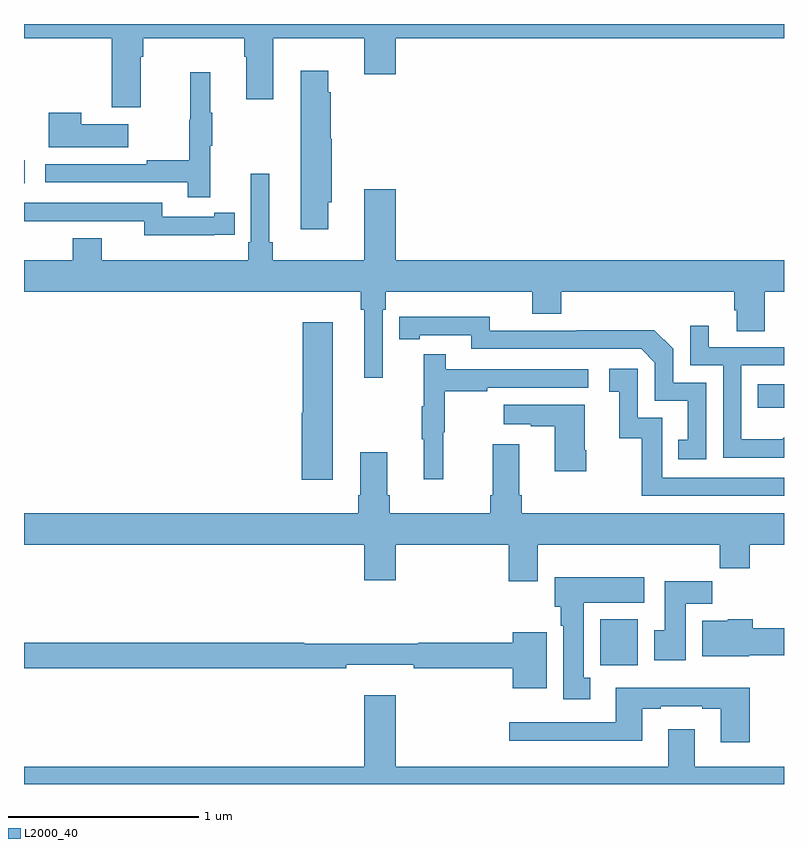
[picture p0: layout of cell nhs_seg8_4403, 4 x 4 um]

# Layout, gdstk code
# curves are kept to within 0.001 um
import gdstk
lib = gdstk.Library(unit=1e-6, precision=1e-09)
def R(c, l, rs):  # rectangles x0, y0, x1, y1
    for r in rs: c.add(gdstk.rectangle(r[:2], r[2:], *l))
def P(c, l, *ps):  # polygons
    for p in ps: c.add(gdstk.Polygon(p, *l))
L2000_40 = (2000, 40)

nhs_seg8_4403 = lib.new_cell('nhs_seg8_4403')
R(nhs_seg8_4403, L2000_40, [(382.034,1122.524,382.231,1122.766), (382.861,1123.881,383,1124.004), (379,1125.063,379.003,1125.183)])
P(nhs_seg8_4403, L2000_40, [(379.615,1125.728),(379.628,1125.728),(379.628,1125.824),(380.159,1125.824),(380.159,1125.728),(380.171,1125.728),(380.171,1125.504),(380.311,1125.504),(380.311,1125.824),(380.792,1125.824),(380.792,1125.636),(380.956,1125.636),(380.956,1125.824),(383,1125.824),(383,1125.9),(379,1125.9),(379,1125.824),(379.463,1125.824),(379.463,1125.462),(379.615,1125.462)],
  [(380.602,1124.961),(380.62,1124.961),(380.62,1125.297),(380.615,1125.297),(380.615,1125.542),(380.602,1125.542),(380.602,1125.655),(380.456,1125.655),(380.456,1124.82),(380.602,1124.82)],
  [(379.979,1125.259),(379.99,1125.259),(379.99,1125.433),(379.979,1125.433),(379.979,1125.646),(379.876,1125.646),(379.876,1125.396),(379.869,1125.396),(379.869,1125.182),(379.645,1125.182),(379.645,1125.162),(379.113,1125.162),(379.113,1125.066),(379.861,1125.066),(379.861,1124.988),(379.979,1124.988)],
  [(379.549,1125.373),(379.301,1125.373),(379.301,1125.433),(379.13,1125.433),(379.13,1125.251),(379.549,1125.251)],
  [(380.889,1124.396),(380.903,1124.396),(380.903,1124.492),(381.674,1124.492),(381.674,1124.375),(381.827,1124.375),(381.827,1124.492),(382.739,1124.492),(382.739,1124.394),(382.751,1124.394),(382.751,1124.284),(382.899,1124.284),(382.899,1124.492),(383,1124.492),(383,1124.656),(380.956,1124.656),(380.956,1125.031),(380.792,1125.031),(380.792,1124.656),(380.309,1124.656),(380.309,1124.752),(380.29,1124.752),(380.29,1125.112),(380.193,1125.112),(380.193,1124.752),(380.18,1124.752),(380.18,1124.656),(379.408,1124.656),(379.408,1124.773),(379.256,1124.773),(379.256,1124.656),(379,1124.656),(379,1124.492),(380.773,1124.492),(380.773,1124.396),(380.792,1124.396),(380.792,1124.037),(380.889,1124.037)],
  [(380,1124.79),(380.108,1124.79),(380.108,1124.906),(380,1124.906),(380,1124.886),(379.728,1124.886),(379.728,1124.958),(379,1124.958),(379,1124.861),(379.172,1124.861),(379.172,1124.862),(379.632,1124.862),(379.632,1124.789),(380,1124.789)],
  [(382.59,1124.013),(382.416,1124.013),(382.416,1124.19),(382.318,1124.288),(381.91,1124.288),(381.91,1124.286),(381.45,1124.286),(381.45,1124.359),(380.974,1124.358),(380.974,1124.242),(381.082,1124.242),(381.082,1124.262),(381.354,1124.262),(381.354,1124.19),(382.248,1124.19),(382.32,1124.118),(382.32,1123.917),(382.493,1123.917),(382.493,1123.713),(382.444,1123.713),(382.444,1123.608),(382.59,1123.608)],
  [(380.626,1124.329),(380.468,1124.329),(380.468,1123.854),(380.462,1123.854),(380.462,1123.502),(380.626,1123.502)],
  [(383,1123.724),(382.99,1123.714),(382.776,1123.714),(382.776,1124.103),(383,1124.103),(383,1124.199),(382.603,1124.199),(382.603,1124.311),(382.506,1124.311),(382.506,1124.103),(382.68,1124.103),(382.68,1123.617),(383,1123.617)],
  [(381.206,1123.752),(381.214,1123.752),(381.214,1123.966),(381.437,1123.966),(381.437,1123.986),(381.97,1123.986),(381.97,1124.082),(381.221,1124.082),(381.221,1124.161),(381.104,1124.161),(381.104,1123.889),(381.093,1123.889),(381.093,1123.715),(381.104,1123.715),(381.104,1123.503),(381.206,1123.503)],
  [(383,1123.512),(382.359,1123.512),(382.359,1123.827),(382.23,1123.827),(382.23,1124.086),(382.08,1124.086),(382.08,1123.965),(382.133,1123.965),(382.133,1123.719),(382.251,1123.719),(382.251,1123.416),(383,1123.416)],
  [(381.96,1123.657),(381.952,1123.657),(381.952,1123.897),(381.525,1123.897),(381.525,1123.793),(381.668,1123.793),(381.668,1123.783),(381.794,1123.783),(381.794,1123.545),(381.96,1123.545)],
  [(381.703,1123.16),(382.663,1123.16),(382.663,1123.036),(382.82,1123.036),(382.82,1123.16),(383,1123.16),(383,1123.324),(381.62,1123.324),(381.62,1123.42),(381.607,1123.42),(381.607,1123.687),(381.467,1123.687),(381.467,1123.42),(381.455,1123.42),(381.455,1123.324),(380.924,1123.324),(380.924,1123.42),(380.911,1123.42),(380.911,1123.645),(380.771,1123.645),(380.771,1123.42),(380.759,1123.42),(380.759,1123.324),(379,1123.324),(379,1123.16),(380.792,1123.16),(380.792,1122.972),(380.956,1122.972),(380.956,1123.16),(381.551,1123.16),(381.551,1122.966),(381.703,1122.966)],
  [(381.979,1122.458),(381.946,1122.458),(381.946,1122.854),(382.264,1122.854),(382.264,1122.988),(381.794,1122.988),(381.794,1122.834),(381.824,1122.834),(381.824,1122.734),(381.839,1122.734),(381.839,1122.345),(381.979,1122.345)],
  [(382.483,1122.848),(382.622,1122.848),(382.622,1122.967),(382.373,1122.967),(382.373,1122.708),(382.316,1122.708),(382.316,1122.552),(382.483,1122.552)],
  [(382.818,1122.578),(383,1122.578),(383,1122.72),(382.835,1122.72),(382.835,1122.766),(382.704,1122.766),(382.704,1122.76),(382.571,1122.76),(382.571,1122.572),(382.818,1122.572)],
  [(381.751,1122.7),(381.572,1122.7),(381.572,1122.644),(381.076,1122.644),(381.076,1122.637),(380.476,1122.637),(380.476,1122.644),(379,1122.644),(379,1122.508),(380.696,1122.508),(380.696,1122.527),(381.052,1122.527),(381.052,1122.508),(381.572,1122.508),(381.572,1122.404),(381.751,1122.404)],
  [(382.82,1122.406),(382.115,1122.406),(382.115,1122.225),(381.555,1122.225),(381.555,1122.128),(382.255,1122.128),(382.255,1122.297),(382.351,1122.297),(382.351,1122.309),(382.571,1122.309),(382.571,1122.297),(382.667,1122.297),(382.667,1122.12),(382.82,1122.12)],
  [(383,1121.992),(382.531,1121.992),(382.531,1122.187),(382.391,1122.187),(382.391,1121.992),(380.956,1121.992),(380.956,1122.367),(380.792,1122.367),(380.792,1121.992),(379,1121.992),(379,1121.9),(383,1121.9)])

lib.write_gds('nhs_seg8_4403.gds')
